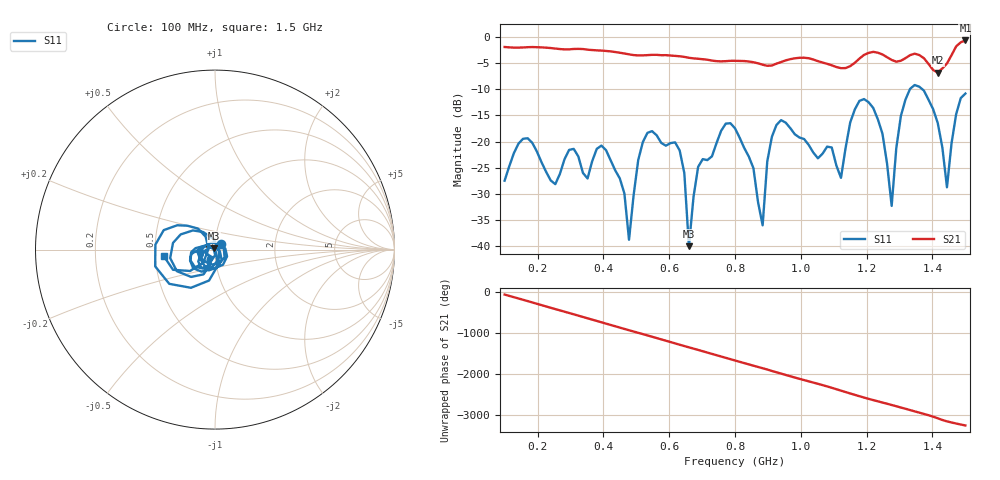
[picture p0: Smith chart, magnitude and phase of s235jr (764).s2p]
! NanoVNA-App
! Date: 2025-09-25 15:10:07
! Start: 100MHz Stop: 1,5GHz Points: 101
! S-Parameter data: F S11 S21 S12 S22
# Hz S RI R 50
!  Frequency  S11_Real  S11_Imag  S21_Real  S21_Imag  S12_Real  S12_Imag  S22_Real  S22_Imag
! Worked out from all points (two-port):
!   101 points, 100 MHz to 1.5 GHz, reference 50 ohm
!   highest |S21| = -0.72 dB at 1.5 GHz (marker M1); lowest = -6.8 dB at 1.416 GHz (marker M2)
!   |S21| within 3 dB of the highest: start of sweep to 628.4 MHz; 1.187 GHz to 1.257 GHz (69.52 MHz wide, 5.69 % of centre) (the widest 2 of 4)
!   lowest |S11| = -40.0 dB at 660 MHz (marker M3), VSWR 1.02, Z = 49.2 + j0.637 ohm
!   |S11| at or under -10 dB: start of sweep to 1.332 GHz; 1.369 GHz to end of sweep
!   S12 and S22 are empty: the file has one direction only
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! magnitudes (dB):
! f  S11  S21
! 100 MHz  -27.5  -2.0
! 170 MHz  -19.4  -2.0
! 338 MHz  -26.0  -2.4
! 408 MHz  -21.6  -2.7
! 478 MHz  -38.8  -3.4
! 520 MHz  -20.1  -3.6
! 576 MHz  -20.3  -3.5
! 632 MHz  -21.7  -3.7
! 660 MHz  -40.0  -4.0
! 688 MHz  -24.8  -4.2
! 800 MHz  -17.5  -4.6
! 884 MHz  -36.0  -5.3
! 926 MHz  -16.8  -5.1
! 1.038 GHz  -22.1  -4.4
! 1.122 GHz  -26.9  -6.0
! 1.192 GHz  -11.9  -3.5
! 1.248 GHz  -18.5  -3.4
! 1.276 GHz  -32.3  -4.4
! 1.332 GHz  -9.9  -3.5
! 1.416 GHz  -16.5  -6.8
! 1.444 GHz  -28.7  -5.1
! 1.5 GHz  -10.8  -0.7
